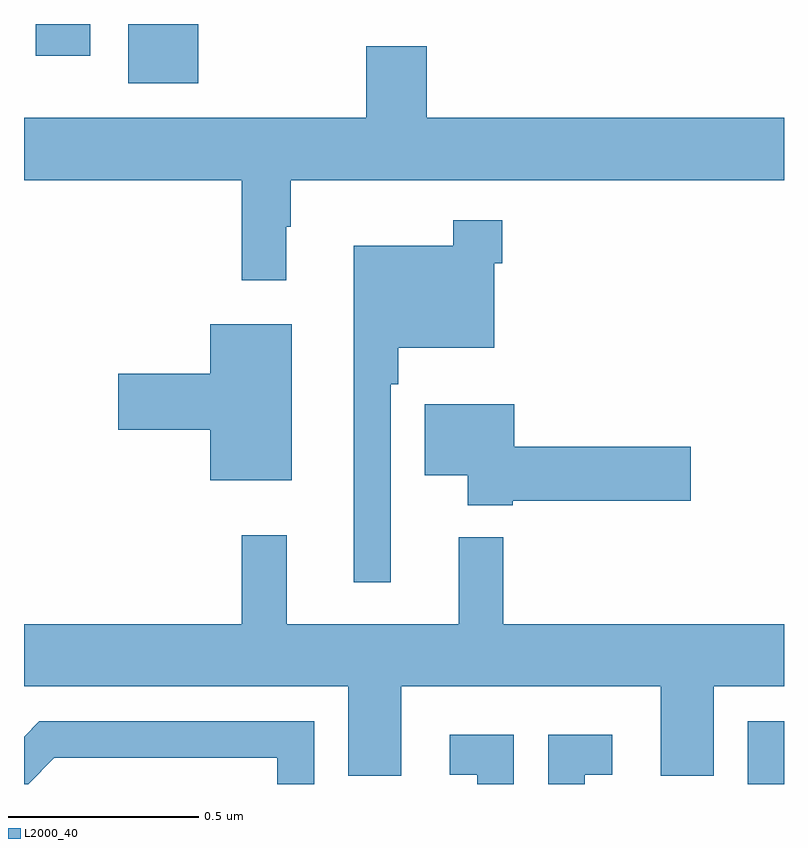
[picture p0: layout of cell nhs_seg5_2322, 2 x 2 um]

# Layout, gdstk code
import gdstk
lib = gdstk.Library(unit=1e-6, precision=1e-09)
def R(c, l, rs):  # rectangles x0, y0, x1, y1
    for r in rs: c.add(gdstk.rectangle(r[:2], r[2:], *l))
def P(c, l, *ps):  # polygons
    for p in ps: c.add(gdstk.Polygon(p, *l))
L2000_40 = (2000, 40)

nhs_seg5_2322 = lib.new_cell('nhs_seg5_2322')
R(nhs_seg5_2322, L2000_40, [(143.904,893.799,144,893.964), (142.274,895.643,142.459,895.799), (142.031,895.716,142.174,895.799)])
P(nhs_seg5_2322, L2000_40, [(142.69,895.265),(142.702,895.265),(142.702,895.388),(144,895.388),(144,895.552),(143.06,895.552),(143.06,895.74),(142.9,895.74),(142.9,895.552),(142,895.552),(142,895.388),(142.573,895.388),(142.573,895.125),(142.69,895.125)],
  [(142.965,894.851),(142.985,894.851),(142.985,894.947),(143.238,894.947),(143.238,895.169),(143.258,895.169),(143.258,895.282),(143.13,895.282),(143.13,895.216),(142.868,895.216),(142.868,894.33),(142.965,894.33)],
  [(142.705,895.009),(142.49,895.009),(142.49,894.878),(142.248,894.878),(142.248,894.731),(142.49,894.731),(142.49,894.599),(142.705,894.599)],
  [(143.286,894.544),(143.755,894.544),(143.755,894.686),(143.29,894.686),(143.29,894.799),(143.054,894.799),(143.054,894.611),(143.168,894.611),(143.168,894.533),(143.286,894.533)],
  [(142.993,894.056),(143.675,894.056),(143.675,893.821),(143.815,893.821),(143.815,894.056),(144,894.056),(144,894.22),(143.261,894.22),(143.261,894.448),(143.144,894.448),(143.144,894.22),(142.691,894.22),(142.691,894.454),(142.573,894.454),(142.573,894.22),(142,894.22),(142,894.056),(142.853,894.056),(142.853,893.821),(142.993,893.821)],
  [(142.08,893.868),(142.667,893.868),(142.667,893.799),(142.764,893.799),(142.764,893.964),(142.04,893.964),(142,893.924),(142,893.799),(142.011,893.799)],
  [(143.475,893.823),(143.548,893.823),(143.548,893.929),(143.379,893.929),(143.379,893.799),(143.475,893.799)],
  [(143.289,893.929),(143.121,893.929),(143.121,893.823),(143.193,893.823),(143.193,893.799),(143.289,893.799)])

lib.write_gds('nhs_seg5_2322.gds')
